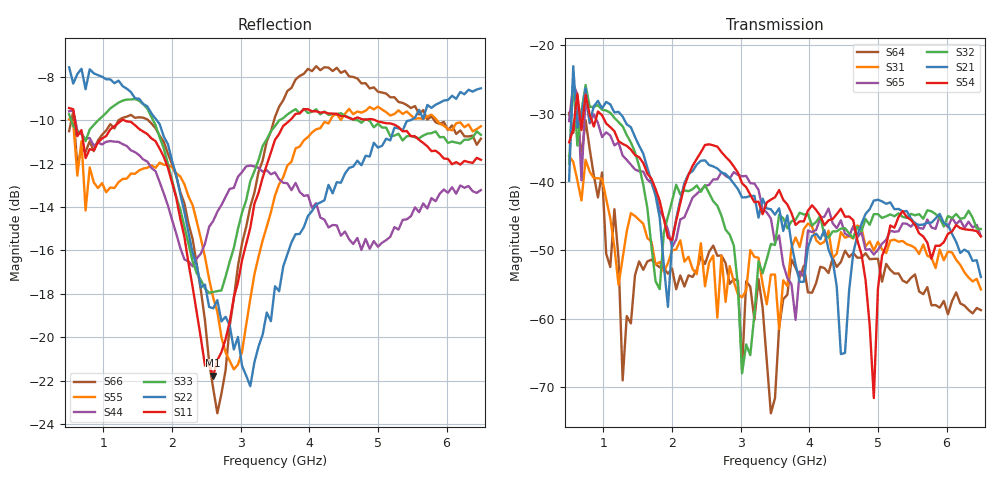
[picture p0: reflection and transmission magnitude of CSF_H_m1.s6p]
!Keysight Technologies,M9804A,MY58100912,A.14.10.03
!Date: Thursday, April 27, 2023 10:28:33
!Correction: S11(C  6-Port  )
!S12(C  6-Port  )
!S13(C  6-Port  )
!S14(C  6-Port  )
!S15(C  6-Port  )
!S16(C  6-Port  )
!S21(C  6-Port  )
!S22(C  6-Port  )
!S23(C  6-Port  )
!S24(C  6-Port  )
!S25(C  6-Port  )
!S26(C  6-Port  )
!S31(C  6-Port  )
!S32(C  6-Port  )
!S33(C  6-Port  )
!S34(C  6-Port  )
!S35(C  6-Port  )
!S36(C  6-Port  )
!S41(C  6-Port  )
!S42(C  6-Port  )
!S43(C  6-Port  )
!S44(C  6-Port  )
!S45(C  6-Port  )
!S46(C  6-Port  )
!S51(C  6-Port  )
!S52(C  6-Port  )
!S53(C  6-Port  )
!S54(C  6-Port  )
!S55(C  6-Port  )
!S56(C  6-Port  )
!S61(C  6-Port  )
!S62(C  6-Port  )
!S63(C  6-Port  )
!S64(C  6-Port  )
!S65(C  6-Port  )
!S66(C  6-Port  )
!S6P File: Measurement: :
# Hz S  RI  R 50
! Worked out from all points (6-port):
!   101 points, 500 MHz to 6.5 GHz, reference 50 ohm
!   strongest paths, dB at 500 MHz, 2 GHz, 3.5 GHz, 5 GHz, 6.5 GHz:
!     S54: -34.2, -48.5, -42.2, -55.6, -48.0
!     S21: -39.8, -48.8, -44.8, -42.6, -53.9
!     S32: -37.3, -42.8, -49.2, -44.7, -46.9
!     S65: -31.1, -49.5, -48.9, -49.9, -47.9
!     S31: -36.2, -50.0, -53.5, -48.8, -55.7
!     S64: -29.9, -52.7, -71.6, -51.2, -58.8
!   lowest |S11| = -21.8 dB at 2.6 GHz (marker M1), VSWR 1.18, Z = 42.7 + j1.97 ohm
!   |S11| at or under -10 dB: 584.7 MHz to 1.267 GHz (682.6 MHz wide, 73.7 % of centre); 1.303 GHz to 3.717 GHz (2.414 GHz wide, 96.2 % of centre); 4.962 GHz to end of sweep
